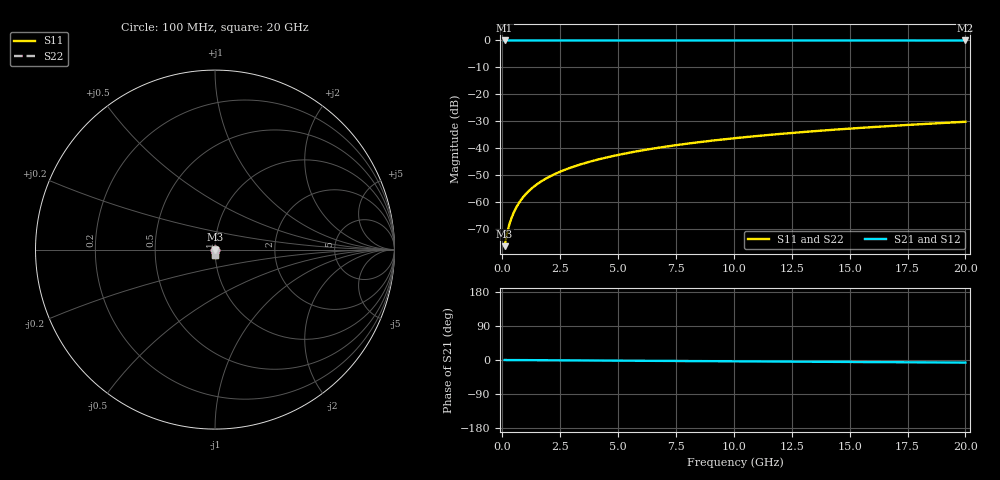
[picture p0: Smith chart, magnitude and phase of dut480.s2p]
! Touchstone file exported from HFSS 2026.1.0
!  File:  C:/ffzhzh/LocalFiles/Ansys_Project_Files/temp_train_TSV_480_1783022551_55676.aedt
!  Generated:  04:04:01 AM Jul  3, 2026
!  Design:  TSV
!  Project:  temp_train_TSV_480_1783022551_55676
! Variables:
!  h_bsmrdl = 2um
!  h_ox = 20um
!  h_rdl = 5um
!  h_sub = 67.68um
!  h_tmrdl = 5um
!  h_tsv = 67.68um
!  h_via = 3um
!  l_bsmrdl = 300um
!  l_sub = 422.8um
!  l_tmrdl = 200um
!  m_sub = 200um
!  pitch = 36.04um
!  r_tsv = 11.4um
!  s_tmrdl = 10um
!  w_bsmrdl = 18um
!  w_sub = 500um
!  w_tmrdl = 12um
!  x_tsv_center1 = 206um
!  x_tsv_center2 = 524um
!  x_tsv_center3 = 736um
!  x_tsv_center4 = 1054um
!  x_tsv_center5 = 1266um
!  x_tsv_center6 = 1584um
# GHz S MA R 50.000000
! Terminal data exported
! Port[1] = TSV1_1_T1
! Port[2] = TSV1_1_T2
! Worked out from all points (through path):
!   200 points, 100 MHz to 20 GHz, reference 50 ohm
!   highest |S21| = 0.00 dB at 100 MHz (marker M1); lowest = 0.0 dB at 20 GHz (marker M2)
!   lowest |S11| = -76.5 dB at 100 MHz (marker M3), VSWR 1.00, Z = 50 - j0.0113 ohm
!   |S11| at or under -10 dB: start of sweep to end of sweep
!   |S22| runs from -76.5 to -30.2 dB; largest |S21 - S12| = 2e-15
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0.1  0.0001496 -49.2  0.9999 -0.0  0.9999 -0.0  0.0001496 -49.2
! Gamma 0 0 0 0
! Port Impedance 50 0 50 0
0.2  0.0002548 -64.4  0.9999 -0.1  0.9999 -0.1  0.0002548 -64.4
0.3  0.0003745 -70.0  0.9999 -0.1  0.9999 -0.1  0.0003745 -70.0
0.4  0.0005031 -72.7  0.9998 -0.1  0.9998 -0.1  0.0005031 -72.7
0.5  0.0006384 -74.4  0.9998 -0.2  0.9998 -0.2  0.0006384 -74.4
0.6  0.0007789 -75.7  0.9998 -0.2  0.9998 -0.2  0.0007789 -75.7
0.8  0.00107 -77.6  0.9998 -0.3  0.9998 -0.3  0.00107 -77.6
1.1  0.001518 -79.7  0.9997 -0.4  0.9997 -0.4  0.001518 -79.7
1.3  0.001819 -80.9  0.9997 -0.5  0.9997 -0.5  0.001819 -80.9
1.5  0.002121 -81.8  0.9997 -0.5  0.9997 -0.5  0.002121 -81.8
1.8  0.002573 -82.9  0.9996 -0.6  0.9996 -0.6  0.002573 -82.9
2.1  0.003026 -83.7  0.9996 -0.7  0.9996 -0.7  0.003026 -83.7
2.7  0.003932 -85.0  0.9996 -0.9  0.9996 -0.9  0.003932 -85.0
3.5  0.005144 -86.1  0.9995 -1.2  0.9995 -1.2  0.005144 -86.1
4.2  0.00621 -86.8  0.9995 -1.5  0.9995 -1.5  0.00621 -86.8
5  0.007434 -87.5  0.9994 -1.7  0.9994 -1.7  0.007434 -87.5
6.8  0.01021 -88.7  0.9993 -2.4  0.9993 -2.4  0.01021 -88.7
8.3  0.01253 -89.6  0.9992 -2.9  0.9992 -2.9  0.01253 -89.6
10.1  0.01533 -90.5  0.9991 -3.5  0.9991 -3.5  0.01533 -90.5
13.4  0.02046 -92.1  0.9989 -4.6  0.9989 -4.6  0.02046 -92.1
16.7  0.0256 -93.5  0.9987 -5.7  0.9987 -5.7  0.02561 -93.5
20  0.03076 -94.8  0.9984 -6.9  0.9984 -6.9  0.03076 -94.8
